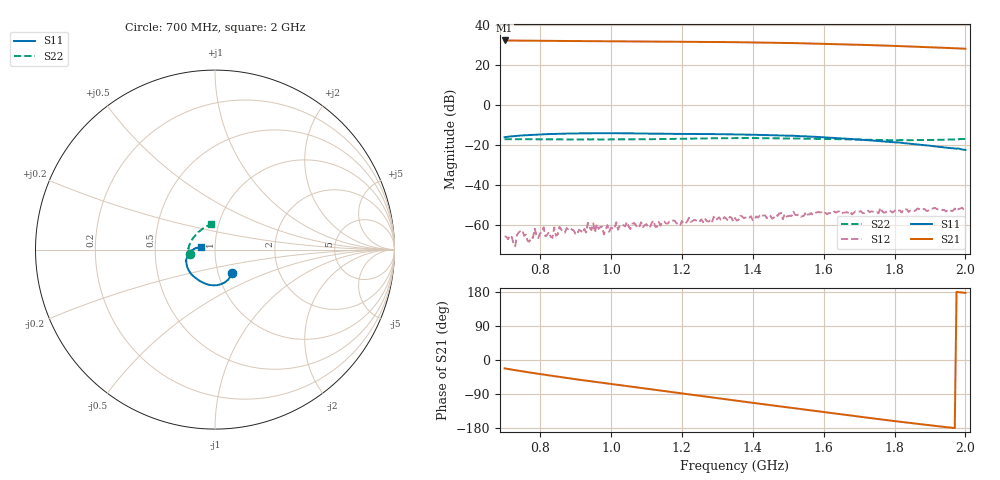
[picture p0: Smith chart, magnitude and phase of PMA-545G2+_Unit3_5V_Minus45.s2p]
!Mini-Circuits Laboratory
!S-Parameters
!Model: PMA-545G2+
!Run / Lot / Date Code: N/A / N/A / NA
!Fixture: NA; TEST BOARD: TB-607+
!AUTO PORT EXTENSION DONE: PORT<1>=120.99ps; PORT<2>=143.047ps
!Network Analyzer: PNA-X N5242A - 423 4 ports;  Serial number: 71256
!Date: 1/11/2011
!S/N: Unit# 3
# Hz  S  dB  R  50
!Frequency  S11 dB  S11 Deg  S21 dB  S21 Deg  S12 dB  S12 Deg  S22 dB  S22 Deg
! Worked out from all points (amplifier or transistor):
!   261 points, 700 MHz to 2 GHz, reference 50 ohm
!   highest |S21| = 32.4 dB at 700 MHz (marker M1)
!   |S21| within 3 dB of that: start of sweep to 1.841 GHz
!   unconditionally stable (mu >= 1): start of sweep to end of sweep
!   at 915 MHz: K = 16.23, MAG = 32.4 dB, |S12| = -62.8 dB
!   at 1.35 GHz: K = 8.30, MAG = 31.8 dB, |S12| = -56.4 dB
!   at 2 GHz: K = 7.45, MAG = 28.4 dB, |S12| = -51.9 dB
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7e8  -15.99 -54.0  32.41 -22.2  -65.52 101.7  -17.02 -169.0
7.3e8  -15.40 -58.7  32.35 -26.9  -70.51 105.9  -16.97 -168.5
7.55e8  -15.08 -62.7  32.31 -30.7  -65.35 115.5  -17.01 -168.3
8.1e8  -14.52 -70.5  32.22 -38.6  -61.09 137.1  -17.05 -167.7
8.35e8  -14.38 -74.0  32.19 -42.0  -66.32 123.8  -17.06 -167.8
8.55e8  -14.28 -76.9  32.16 -44.7  -60.86 121.3  -17.09 -167.5
9.2e8  -14.08 -85.9  32.09 -53.3  -63.91 106.6  -17.09 -167.5
9.75e8  -14.01 -93.2  32.03 -60.3  -60.76 130.5  -17.11 -167.2
1.035e9  -14.03 -101.2  31.99 -67.9  -59.97 115.5  -17.05 -166.8
1.135e9  -14.20 -114.8  31.90 -80.2  -58.48 118.5  -16.96 -167.5
1.19e9  -14.34 -122.6  31.83 -87.1  -59.28 129.7  -16.84 -169.0
1.245e9  -14.39 -129.8  31.76 -93.9  -58.10 110.4  -16.66 -170.2
1.3e9  -14.47 -136.6  31.66 -100.7  -56.85 124.7  -16.47 -171.5
1.35e9  -14.60 -142.3  31.55 -106.8  -56.45 118.4  -16.44 -173.4
1.455e9  -15.03 -153.4  31.28 -119.8  -56.80 110.8  -16.54 -179.0
1.515e9  -15.24 -159.3  31.10 -127.2  -53.32 104.5  -16.58 176.5
1.57e9  -15.73 -164.2  30.87 -133.9  -54.92 113.1  -16.74 170.3
1.67e9  -16.81 -172.2  30.42 -145.9  -53.70 100.9  -17.08 157.7
1.725e9  -17.48 -176.5  30.12 -152.5  -52.72 100.8  -17.28 149.3
1.785e9  -18.35 179.9  29.76 -159.4  -52.73 93.2  -17.47 139.0
1.88e9  -19.89 174.6  29.14 -170.1  -52.03 91.7  -17.40 121.4
2e9  -22.34 170.8  28.27 177.1  -51.94 80.8  -16.89 98.4
